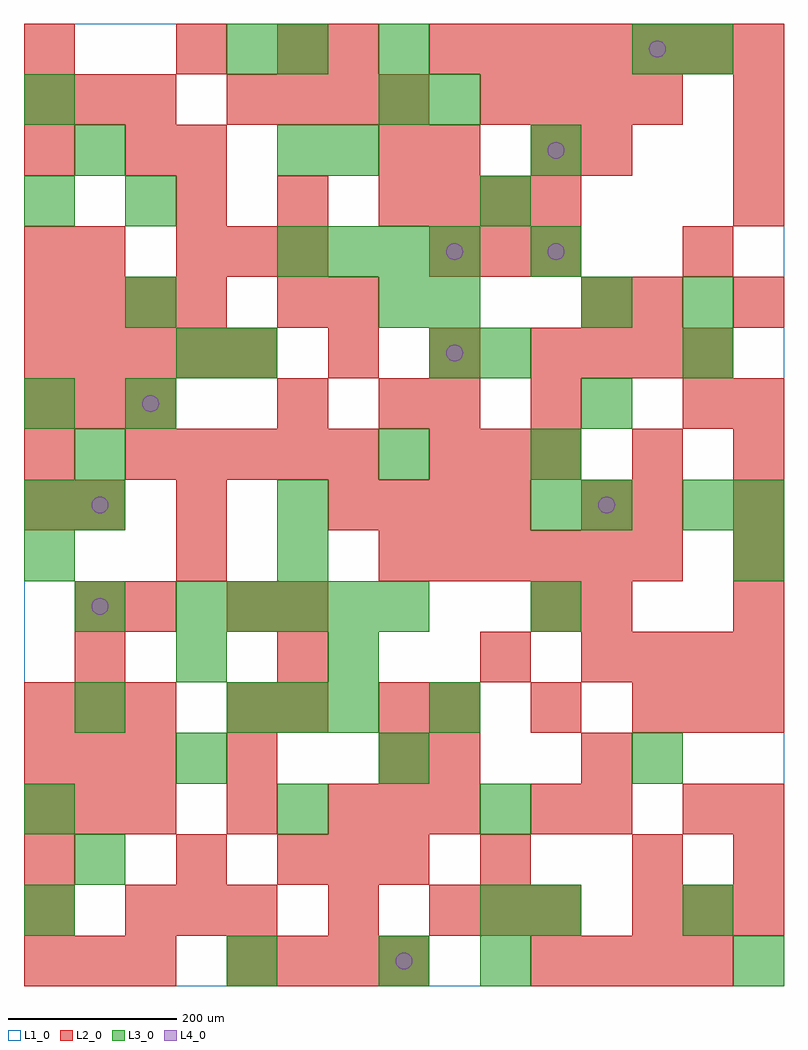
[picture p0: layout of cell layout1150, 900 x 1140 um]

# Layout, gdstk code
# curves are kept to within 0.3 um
import gdstk
lib = gdstk.Library(unit=1e-6, precision=1e-09)
def R(c, l, rs):  # rectangles x0, y0, x1, y1
    for r in rs: c.add(gdstk.rectangle(r[:2], r[2:], *l))
def A(c, l, x, y, w, h, nx, ny, dx, dy):  # array of equal rectangles
    R(c, l, [(x+i*dx, y+j*dy, x+i*dx+w, y+j*dy+h) for i in range(nx) for j in range(ny)])
def P(c, l, *ps):  # polygons
    for p in ps: c.add(gdstk.Polygon(p, *l))
L1_0 = (1, 0)
L2_0 = (2, 0)
L3_0 = (3, 0)
L4_0 = (4, 0)

layout1150 = lib.new_cell('layout1150')
R(layout1150, L1_0, [(0,0,900,1140)])
A(layout1150, L2_0, 0, 0, 60, 60, 3, 2, 60, 180)
A(layout1150, L2_0, 240, 0, 60, 60, 4, 2, 60, 1020)
A(layout1150, L2_0, 600, 0, 60, 60, 4, 1, 60, 0)
A(layout1150, L2_0, 120, 60, 60, 60, 3, 1, 60, 0)
A(layout1150, L2_0, 480, 60, 60, 60, 3, 2, 60, 540)
A(layout1150, L2_0, 720, 60, 60, 60, 3, 1, 60, 0)
A(layout1150, L2_0, 300, 120, 60, 60, 3, 1, 60, 0)
A(layout1150, L2_0, 240, 180, 60, 60, 1, 3, 0, 60)
A(layout1150, L2_0, 360, 180, 60, 60, 3, 1, 60, 0)
A(layout1150, L2_0, 600, 180, 60, 60, 1, 3, 0, 240)
A(layout1150, L2_0, 840, 180, 60, 60, 1, 3, 0, 120)
A(layout1150, L2_0, 0, 240, 60, 60, 3, 2, 60, 60)
A(layout1150, L2_0, 480, 300, 60, 60, 3, 1, 120, 0)
A(layout1150, L2_0, 60, 360, 60, 60, 3, 1, 240, 0)
A(layout1150, L2_0, 660, 360, 60, 60, 4, 1, 60, 0)
A(layout1150, L2_0, 420, 480, 60, 60, 6, 1, 60, 0)
A(layout1150, L2_0, 840, 480, 60, 60, 1, 4, 0, 60)
A(layout1150, L2_0, 360, 540, 60, 60, 4, 1, 60, 0)
A(layout1150, L2_0, 120, 600, 60, 60, 5, 1, 60, 0)
A(layout1150, L2_0, 0, 660, 60, 60, 3, 2, 60, 360)
A(layout1150, L2_0, 0, 720, 60, 60, 5, 1, 60, 0)
A(layout1150, L2_0, 360, 720, 60, 60, 3, 1, 120, 0)
A(layout1150, L2_0, 660, 720, 60, 60, 3, 1, 60, 0)
A(layout1150, L2_0, 0, 780, 60, 60, 4, 1, 60, 0)
A(layout1150, L2_0, 0, 840, 60, 60, 1, 3, 0, 120)
A(layout1150, L2_0, 180, 840, 60, 60, 3, 1, 60, 0)
A(layout1150, L2_0, 480, 840, 60, 60, 3, 2, 60, 60)
A(layout1150, L2_0, 180, 900, 60, 60, 3, 1, 120, 0)
A(layout1150, L2_0, 840, 900, 60, 60, 1, 3, 0, 60)
A(layout1150, L2_0, 540, 1020, 60, 60, 4, 1, 60, 0)
A(layout1150, L2_0, 480, 1080, 60, 60, 7, 1, 60, 0)
R(layout1150, L2_0, [(0,60,60,120), (360,60,420,120), (0,120,60,180), (180,120,240,180), (540,120,600,180), (720,120,780,180), (840,120,900,180), (660,180,720,240), (780,180,840,240), (420,240,480,300), (480,240,540,300), (660,240,720,300), (300,300,360,360), (420,300,480,360), (780,300,840,360), (60,420,120,480), (120,420,180,480), (240,420,300,480), (300,420,360,480), (660,420,720,480), (180,480,240,540), (0,540,60,600), (60,540,120,600), (180,540,240,600), (660,540,720,600), (720,540,780,600), (0,600,60,660), (720,600,780,660), (300,660,360,720), (420,660,480,720), (480,660,540,720), (780,660,840,720), (300,780,360,840), (360,780,420,840), (660,780,720,840), (720,780,780,840), (840,780,900,840), (60,840,120,900), (780,840,840,900), (120,960,180,1020), (180,960,240,1020), (420,960,480,1020), (480,960,540,1020), (600,960,660,1020), (660,960,720,1020), (180,1080,240,1140), (300,1080,360,1140), (360,1080,420,1140)])
A(layout1150, L3_0, 60, 300, 60, 60, 1, 3, 0, 120)
A(layout1150, L3_0, 240, 300, 60, 60, 3, 1, 60, 0)
A(layout1150, L3_0, 180, 420, 60, 60, 5, 1, 60, 0)
A(layout1150, L3_0, 660, 540, 60, 60, 1, 3, 0, 120)
A(layout1150, L3_0, 120, 660, 60, 60, 1, 3, 0, 120)
A(layout1150, L3_0, 300, 840, 60, 60, 4, 1, 60, 0)
R(layout1150, L3_0, [(240,0,300,60), (420,0,480,60), (540,0,600,60), (840,0,900,60), (0,60,60,120), (540,60,600,120), (600,60,660,120), (780,60,840,120), (60,120,120,180), (0,180,60,240), (300,180,360,240), (540,180,600,240), (180,240,240,300), (420,240,480,300), (720,240,780,300), (480,300,540,360), (180,360,240,420), (360,360,420,420), (600,420,660,480), (0,480,60,540), (300,480,360,540), (840,480,900,540), (0,540,60,600), (300,540,360,600), (600,540,660,600), (780,540,840,600), (840,540,900,600), (60,600,120,660), (420,600,480,660), (600,600,660,660), (0,660,60,720), (180,720,240,780), (240,720,300,780), (480,720,540,780), (540,720,600,780), (780,720,840,780), (420,780,480,840), (480,780,540,840), (780,780,840,840), (600,840,660,900), (0,900,60,960), (540,900,600,960), (60,960,120,1020), (300,960,360,1020), (360,960,420,1020), (600,960,660,1020), (0,1020,60,1080), (420,1020,480,1080), (480,1020,540,1080), (240,1080,300,1140), (300,1080,360,1140), (420,1080,480,1140), (720,1080,780,1140), (780,1080,840,1140)])
P(layout1150, L4_0, [(100,450),(99.239,453.827),(97.071,457.071),(93.827,459.239),(90,460),(86.173,459.239),(82.929,457.071),(80.761,453.827),(80,450),(80.761,446.173),(82.929,442.929),(86.173,440.761),(90,440),(93.827,440.761),(97.071,442.929),(99.239,446.173)],
  [(100,570),(99.239,573.827),(97.071,577.071),(93.827,579.239),(90,580),(86.173,579.239),(82.929,577.071),(80.761,573.827),(80,570),(80.761,566.173),(82.929,562.929),(86.173,560.761),(90,560),(93.827,560.761),(97.071,562.929),(99.239,566.173)],
  [(160,690),(159.239,693.827),(157.071,697.071),(153.827,699.239),(150,700),(146.173,699.239),(142.929,697.071),(140.761,693.827),(140,690),(140.761,686.173),(142.929,682.929),(146.173,680.761),(150,680),(153.827,680.761),(157.071,682.929),(159.239,686.173)],
  [(460,30),(459.239,33.827),(457.071,37.071),(453.827,39.239),(450,40),(446.173,39.239),(442.929,37.071),(440.761,33.827),(440,30),(440.761,26.173),(442.929,22.929),(446.173,20.761),(450,20),(453.827,20.761),(457.071,22.929),(459.239,26.173)],
  [(520,750),(519.239,753.827),(517.071,757.071),(513.827,759.239),(510,760),(506.173,759.239),(502.929,757.071),(500.761,753.827),(500,750),(500.761,746.173),(502.929,742.929),(506.173,740.761),(510,740),(513.827,740.761),(517.071,742.929),(519.239,746.173)],
  [(520,870),(519.239,873.827),(517.071,877.071),(513.827,879.239),(510,880),(506.173,879.239),(502.929,877.071),(500.761,873.827),(500,870),(500.761,866.173),(502.929,862.929),(506.173,860.761),(510,860),(513.827,860.761),(517.071,862.929),(519.239,866.173)],
  [(640,870),(639.239,873.827),(637.071,877.071),(633.827,879.239),(630,880),(626.173,879.239),(622.929,877.071),(620.761,873.827),(620,870),(620.761,866.173),(622.929,862.929),(626.173,860.761),(630,860),(633.827,860.761),(637.071,862.929),(639.239,866.173)],
  [(640,990),(639.239,993.827),(637.071,997.071),(633.827,999.239),(630,1000),(626.173,999.239),(622.929,997.071),(620.761,993.827),(620,990),(620.761,986.173),(622.929,982.929),(626.173,980.761),(630,980),(633.827,980.761),(637.071,982.929),(639.239,986.173)],
  [(700,570),(699.239,573.827),(697.071,577.071),(693.827,579.239),(690,580),(686.173,579.239),(682.929,577.071),(680.761,573.827),(680,570),(680.761,566.173),(682.929,562.929),(686.173,560.761),(690,560),(693.827,560.761),(697.071,562.929),(699.239,566.173)],
  [(760,1110),(759.239,1113.827),(757.071,1117.071),(753.827,1119.239),(750,1120),(746.173,1119.239),(742.929,1117.071),(740.761,1113.827),(740,1110),(740.761,1106.173),(742.929,1102.929),(746.173,1100.761),(750,1100),(753.827,1100.761),(757.071,1102.929),(759.239,1106.173)])

lib.write_gds('layout1150.gds')
